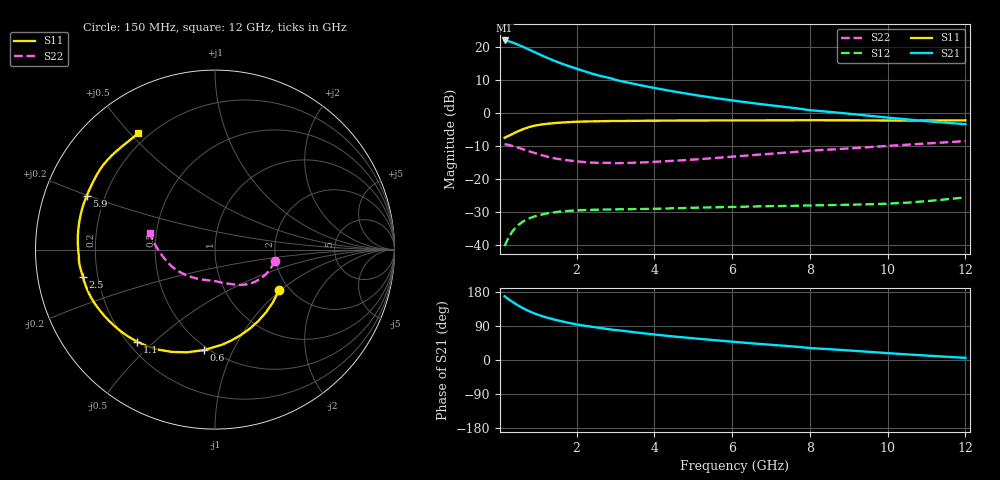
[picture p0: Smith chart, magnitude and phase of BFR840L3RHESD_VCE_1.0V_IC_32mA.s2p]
! Infineon Technologies  Discrete & RF Semiconductors
! BFR840L3RHESD
! VCE =  1.0 V,  IC =  32 mA
! Common Emitter S-Parameters:  Jun 2012
# GHz  S  MA  R  50
!  f  S11  S21  S12  S22
! GHz  MAG  ANG  MAG  ANG  MAG  ANG  MAG  ANG
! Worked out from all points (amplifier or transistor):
!   91 points, 150 MHz to 12 GHz, reference 50 ohm
!   highest |S21| = 22.1 dB at 150 MHz (marker M1)
!   |S21| within 3 dB of that: start of sweep to 821.4 MHz
!   unconditionally stable (mu >= 1): start of sweep to end of sweep
!   at 1.3 GHz: K = 1.17, MAG = 21.0 dB, |S12| = -30.4 dB
!   at 4.3 GHz: K = 2.39, MAG = 11.4 dB, |S12| = -29.0 dB
!   at 12 GHz: K = 4.95, MAG = 1.2 dB, |S12| = -25.6 dB
!   S11 on the Smith chart (normalised r, x): 150 MHz: 1.76, -0.97; 600 MHz: 0.47, -0.78; 1.1 GHz: 0.24, -0.44; 2.5 GHz: 0.14, -0.10; 5.9 GHz: 0.13, +0.20; 12 GHz: 0.16, +0.53
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0.15  0.4223 -32.5  12.74 168.2  0.0095 37.9  0.3376 -10.4
0.25  0.4508 -51.0  12.39 160.5  0.0128 41.7  0.3287 -17.8
0.35  0.4821 -66.7  11.87 153.4  0.0159 43.5  0.3173 -24.6
0.45  0.5151 -80.0  11.27 146.9  0.0186 43.8  0.3048 -30.7
0.6  0.5638 -96.4  10.34 138.0  0.022 42.2  0.2857 -38.9
0.7  0.5932 -105.3  9.728 132.7  0.0239 40.4  0.2732 -43.6
0.8  0.6188 -112.9  9.144 127.9  0.0254 38.2  0.2613 -47.8
0.9  0.6404 -119.5  8.59 123.5  0.0267 35.9  0.2501 -51.6
1.1  0.6725 -130.4  7.585 116.2  0.0287 31.6  0.2302 -58.2
1.3  0.6946 -139.0  6.727 110.2  0.0303 28.3  0.2144 -63.9
1.6  0.7184 -149.0  5.718 102.5  0.032 25.6  0.1982 -71.5
1.9  0.7359 -156.6  4.962 96.0  0.033 24.3  0.1882 -78.1
2.2  0.7463 -162.9  4.343 90.6  0.0336 22.8  0.1807 -83.9
2.5  0.7515 -168.2  3.832 86.1  0.034 21.7  0.176 -89.2
2.9  0.7598 -174.0  3.367 80.2  0.0344 21.0  0.1758 -96.3
3.2  0.7603 -178.1  3.02 76.9  0.0346 20.7  0.1746 -101.1
4.2  0.7699 171.4  2.299 65.2  0.0354 22.6  0.1843 -116.5
5.9  0.775 157.3  1.592 49.2  0.0374 24.6  0.2154 -139.1
6.1  0.7751 155.8  1.534 47.5  0.0376 25.1  0.2199 -141.5
8.5  0.78 140.2  1.046 28.6  0.04 30.2  0.2792 -167.5
10.5  0.7727 129.7  0.803 14.8  0.0436 38.7  0.3315 176.1
12  0.7763 123.4  0.68 5.7  0.0524 42.3  0.3755 165.9
